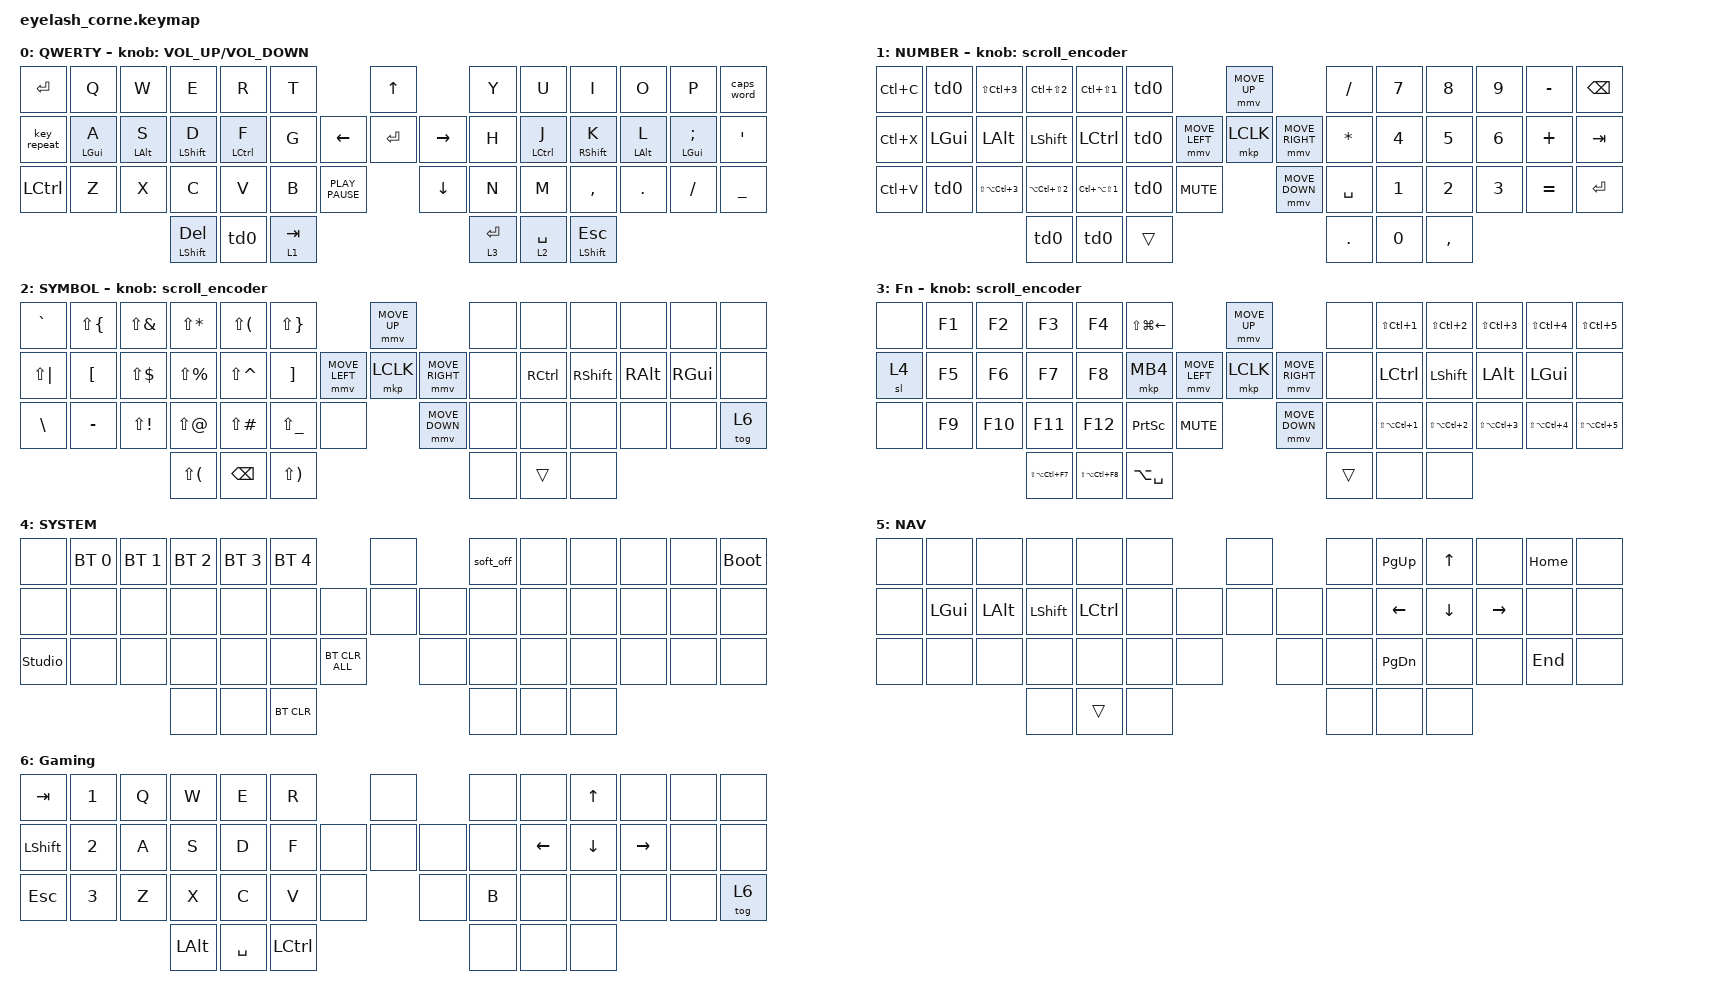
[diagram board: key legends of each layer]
#include <dt-bindings/zmk/mouse.h>
#include <input/processors.dtsi>
#include <behaviors.dtsi>
#include <dt-bindings/zmk/bt.h>
#include <dt-bindings/zmk/keys.h>
#include <dt-bindings/zmk/pointing.h>
#include <dt-bindings/zmk/rgb.h>

/*

   &mmv_input_listener {
       input-processors = <&zip_xy_scaler 2 1>;
   };

   &msc_input_listener {
       input-processors = <&zip_xy_scaler 2 1>;
   };

 */

#define ZMK_MOUSE_DEFAULT_MOVE_VAL 2250  // 600
#define ZMK_MOUSE_DEFAULT_SCRL_VAL 20    // 10

/ {
    behaviors {
        td0: td0 {
            compatible = "zmk,behavior-tap-dance";
            display-name = "Shift/Caps Lock Tap Dance";
            #binding-cells = <0>;
            bindings = <&lt 5 BACKSPACE>, <&kp LC(BACKSPACE)>;

            label = "5 backspace";
        };

        homerow_mods_L: homerow_mods_L {
            compatible = "zmk,behavior-hold-tap";
            label = "HOMEROW_MODS_L";
            bindings = <&kp>, <&kp>;

            #binding-cells = <2>;
            tapping-term-ms = <300>;
            flavor = "tap-preferred";
            hold-trigger-key-positions = <7 9 10 11 12 24 25 26 27 38 39 40 41 47 7 8 22 23 36 37 46 47 45>;
            hold-trigger-on-release;
        };

        homerow_mods_R: homerow_mods_R {
            compatible = "zmk,behavior-hold-tap";
            label = "HOMEROW_MODS_R";
            bindings = <&kp>, <&kp>;

            #binding-cells = <2>;
            tapping-term-ms = <300>;
            flavor = "tap-preferred";
            hold-trigger-on-release;
            hold-trigger-key-positions = <0 1 2 4 5 13 14 15 16 17 18 28 29 30 31 32 33 42 43 3 44>;
        };

        homerow_mods_Shift_L: homerow_mods_Shift_L {
            compatible = "zmk,behavior-hold-tap";
            label = "HOMEROW_MODS_SHIFT_L";
            bindings = <&kp>, <&kp>;

            #binding-cells = <2>;
            tapping-term-ms = <300>;
            flavor = "tap-preferred";
            hold-while-undecided;
            hold-trigger-key-positions = <7 9 10 11 12 24 25 26 27 38 39 40 41 47 7 8 22 23 36 37 46 47 45>;
            hold-trigger-on-release;
        };

        homerow_mods_Shift_R: homerow_mods_Shift_R {
            compatible = "zmk,behavior-hold-tap";
            label = "HOMEROW_MODS_SHIFT_R";
            bindings = <&kp>, <&kp>;

            #binding-cells = <2>;
            tapping-term-ms = <300>;
            flavor = "tap-preferred";
            hold-while-undecided;
            hold-trigger-on-release;
            hold-trigger-key-positions = <0 1 2 4 5 13 14 15 16 17 18 28 29 30 31 32 33 42 43 3 44>;
        };
    };

    rgb_encoder: rgb_encoder {
        compatible = "zmk,behavior-sensor-rotate";
        #sensor-binding-cells = <0>;
        bindings = <&rgb_ug RGB_BRI>, <&rgb_ug RGB_BRD>;
    };

    scroll_encoder: scroll_encoder {
        compatible = "zmk,behavior-sensor-rotate";
        #sensor-binding-cells = <0>;
        bindings = <&msc SCRL_DOWN>, <&msc SCRL_UP>;

        tap-ms = <30>;
    };

    keymap {
        compatible = "zmk,keymap";

        default_layer {
            display-name = "QWERTY";
            bindings = <
&kp ENTER    &kp Q                       &kp W                       &kp E                               &kp R                           &kp T                                    &kp UP                &kp Y        &kp U                           &kp I                                &kp O                       &kp P                          &caps_word
&key_repeat  &homerow_mods_L LEFT_GUI A  &homerow_mods_L LEFT_ALT S  &homerow_mods_Shift_L LEFT_SHIFT D  &homerow_mods_L LEFT_CONTROL F  &kp G                          &kp LEFT  &kp ENTER  &kp RIGHT  &kp H        &homerow_mods_R LEFT_CONTROL J  &homerow_mods_Shift_R RIGHT_SHIFT K  &homerow_mods_R LEFT_ALT L  &homerow_mods_R LEFT_GUI SEMI  &kp SQT
&kp LCTRL    &kp Z                       &kp X                       &kp C                               &kp V                           &kp B      &kp K_PLAY_PAUSE              &kp DOWN              &kp N        &kp M                           &kp COMMA                            &kp DOT                     &kp FSLH                       &kp UNDER
                                                                     &mt LEFT_SHIFT DELETE               &td0                            &lt 1 TAB                                                      &lt 3 ENTER  &lt 2 SPACE                     &mt LEFT_SHIFT ESCAPE
            >;

            sensor-bindings = <&inc_dec_kp C_VOLUME_UP C_VOLUME_DOWN>;
        };

        num_layer {
            display-name = "NUMBER";
            bindings = <
&kp LC(C)  &td0          &kp LS(LC(NUMBER_3))      &kp LC(LS(NUMBER_2))      &kp LC(LS(NUMBER_1))      &td0                                  &mmv MOVE_UP                     &kp SLASH     &kp N7        &kp N8        &kp N9        &kp MINUS  &kp BSPC
&kp LC(X)  &kp LEFT_GUI  &kp LEFT_ALT              &kp LEFT_SHIFT            &kp LEFT_CONTROL          &td0                  &mmv MOVE_LEFT  &mkp LCLK       &mmv MOVE_RIGHT  &kp ASTERISK  &kp NUMBER_4  &kp N5        &kp NUMBER_6  &kp PLUS   &kp TAB
&kp LC(V)  &td0          &kp LS(LA(LC(NUMBER_3)))  &kp LA(LC(LS(NUMBER_2)))  &kp LC(LA(LS(NUMBER_1)))  &td0    &kp C_MUTE                    &mmv MOVE_DOWN                   &kp SPACE     &kp NUMBER_1  &kp NUMBER_2  &kp NUMBER_3  &kp EQUAL  &kp ENTER
                                                   &td0                      &td0                      &trans                                                                 &kp PERIOD    &kp N0        &kp COMMA
            >;

            sensor-bindings = <&scroll_encoder>;
        };

        sym_layer {
            display-name = "SYMBOL";
            bindings = <
&kp GRAVE     &kp LS(LBRC)  &kp LS(AMPS)  &kp LS(STAR)     &kp LS(LPAR)   &kp LS(RBRC)                            &mmv MOVE_UP                     &none  &none              &none            &none          &none          &none
&kp LS(PIPE)  &kp LBKT      &kp LS(DLLR)  &kp LS(PRCNT)    &kp LS(CARET)  &kp RBKT                &mmv MOVE_LEFT  &mkp LCLK       &mmv MOVE_RIGHT  &none  &kp RIGHT_CONTROL  &kp RIGHT_SHIFT  &kp RIGHT_ALT  &kp RIGHT_GUI  &none
&kp BSLH      &kp MINUS     &kp LS(EXCL)  &kp LS(AT_SIGN)  &kp LS(POUND)  &kp LS(UNDER)  &none                    &mmv MOVE_DOWN                   &none  &none              &none            &none          &none          &tog 6
                                          &kp LS(LPAR)     &kp BSPC       &kp LS(RPAR)                                                             &none  &trans             &none
            >;

            sensor-bindings = <&scroll_encoder>;
        };

        fn_layer {
            display-name = "Fn";
            bindings = <
&none  &kp F1  &kp F2   &kp F3              &kp F4              &kp LS(LG(LEFT))                                &mmv MOVE_UP                     &none   &kp LS(LC(NUMBER_1))      &kp LS(LC(NUMBER_2))      &kp LS(LC(NUMBER_3))      &kp LS(LC(NUMBER_4))      &kp LS(LC(N5))
&sl 4  &kp F5  &kp F6   &kp F7              &kp F8              &mkp MB4                        &mmv MOVE_LEFT  &mkp LCLK       &mmv MOVE_RIGHT  &none   &kp LEFT_CONTROL          &kp LEFT_SHIFT            &kp LEFT_ALT              &kp LEFT_GUI              &none
&none  &kp F9  &kp F10  &kp F11             &kp F12             &kp PRINTSCREEN   &kp C_MUTE                    &mmv MOVE_DOWN                   &none   &kp LS(LA(LC(NUMBER_1)))  &kp LS(LA(LC(NUMBER_2)))  &kp LS(LA(LC(NUMBER_3)))  &kp LS(LA(LC(NUMBER_4)))  &kp LS(LA(LC(N5)))
                        &kp LS(LA(LC(F7)))  &kp LS(LA(LC(F8)))  &kp LA(SPACE)                                                                    &trans  &none                     &none
            >;

            sensor-bindings = <&scroll_encoder>;
        };

        system {
            bindings = <
&none           &bt BT_SEL 0  &bt BT_SEL 1  &bt BT_SEL 2  &bt BT_SEL 3  &bt BT_SEL 4                           &none         &soft_off  &none  &none  &none  &none  &bootloader
&none           &none         &none         &none         &none         &none                           &none  &none  &none  &none      &none  &none  &none  &none  &none
&studio_unlock  &none         &none         &none         &none         &none         &bt BT_CLR_ALL           &none         &none      &none  &none  &none  &none  &none
                                            &none         &none         &bt BT_CLR                                           &none      &none  &none
            >;

            label = "SYSTEM";
        };

        navigation {
            bindings = <
&none  &none     &none     &none      &none      &none                  &none         &none  &kp PG_UP  &kp UP    &none      &kp HOME  &none
&none  &kp LGUI  &kp LALT  &kp LSHFT  &kp LCTRL  &none           &none  &none  &none  &none  &kp LEFT   &kp DOWN  &kp RIGHT  &none     &none
&none  &none     &none     &none      &none      &none  &none           &none         &none  &kp PG_DN  &none     &none      &kp END   &none
                           &none      &trans     &none                                &none  &none      &none
            >;

            label = "NAV";
        };

        Gaming {
            bindings = <
&kp TAB         &kp NUMBER_1  &kp Q  &kp W         &kp E      &kp R                             &none         &none  &none           &kp UP_ARROW    &none      &none  &none
&kp LEFT_SHIFT  &kp NUMBER_2  &kp A  &kp S         &kp D      &kp F                      &none  &none  &none  &none  &kp LEFT_ARROW  &kp DOWN_ARROW  &kp RIGHT  &none  &none
&kp ESCAPE      &kp NUMBER_3  &kp Z  &kp X         &kp C      &kp V             &none           &none         &kp B  &none           &none           &none      &none  &tog 6
                                     &kp LEFT_ALT  &kp SPACE  &kp LEFT_CONTROL                                &none  &none           &none
            >;
        };
    };
};
